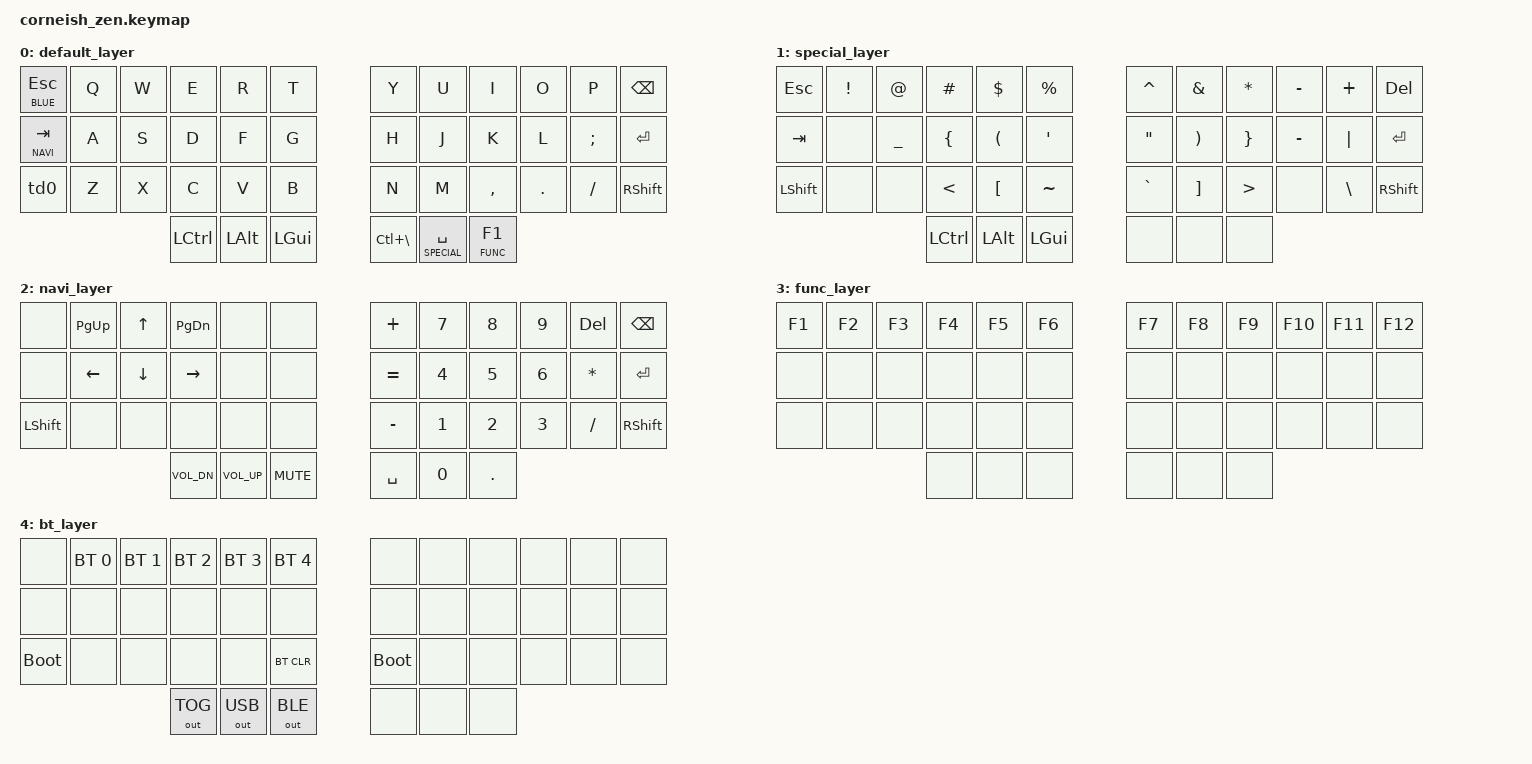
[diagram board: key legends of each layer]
#include <behaviors.dtsi>
#include <dt-bindings/zmk/keys.h>
#include <dt-bindings/zmk/bt.h>
#include <dt-bindings/zmk/outputs.h>

/ {
  chosen {
    zmk,matrix_transform = &default_transform;
    //zmk,matrix_transform = &five_column_transform;
  };
};

// Layers
#define DEFAULT 0  // Typing words and stuff
#define SPECIAL 1  // Typing weird characters
#define NAVI    2  // Arrows, Paging and arabic numbers
#define FUNC    3  // Microsoft loves those
#define BLUE    4  // ZMK BLE controls ("Look ma, no cables!")

// Modifiers + Hotkeys
#define TMUX LC(BSLH)

// Properties
&lt {
        //retro-tap; // FIXME: LGUI+TAB for tab switching works. But LGUI+mouseclick does not work correctly when retro-tap is active.
        quick-tap-ms = <199>;  // https://github.com/zmkfirmware/zmk/issues/1185
};
&mt {
        //retro-tap; // FIXME: LGUI+TAB for tab switching works. But LGUI+mouseclick does not work correctly when retro-tap is active.
        quick-tap-ms = <199>;  // https://github.com/zmkfirmware/zmk/issues/1185
};

// Keymap
/ {

        behaviors {
            // Tap-dance for switching between SHIFT/CAPSLOCK:
            td0: tap_dance_0 {
                compatible = "zmk,behavior-tap-dance";
                label = "TAP_DANCE_0";
                #binding-cells = <0>;
                tapping-term-ms = <300>;
                bindings = <&kp LSHIFT>, <&kp CAPSLOCK>;
            };
        };

        keymap {
                compatible = "zmk,keymap";

                default_layer {
                        bindings = <
   &lt BLUE ESC  &kp Q  &kp W  &kp E  &kp R  &kp T                    &kp Y  &kp U  &kp I      &kp O    &kp P     &kp BSPC
   &lt NAVI TAB  &kp A  &kp S  &kp D  &kp F  &kp G                    &kp H  &kp J  &kp K      &kp L    &kp SEMI  &kp ENTER
   &td0          &kp Z  &kp X  &kp C  &kp V  &kp B                    &kp N  &kp M  &kp COMMA  &kp DOT  &kp FSLH  &kp RSHFT

                               &kp LCTRL  &kp LALT &kp LGUI           &kp TMUX  &lt SPECIAL SPACE  &lt FUNC F1
                        >;
                };
                special_layer {
                        bindings = <
   &kp ESC    &kp EXCL  &kp AT     &kp HASH  &kp DLLR  &kp PRCNT    &kp CARET  &kp AMPS  &kp ASTRK  &kp MINUS  &kp PLUS  &kp DEL
   &kp TAB    &none     &kp UNDER  &kp LBRC  &kp LPAR  &kp SQT      &kp DQT    &kp RPAR  &kp RBRC   &kp MINUS  &kp PIPE  &kp ENTER
   &kp LSHFT  &none     &none      &kp LT    &kp LBKT  &kp TILDE    &kp GRAVE  &kp RBKT  &kp GT     &none      &kp BSLH  &kp RSHFT

                                   &kp LCTRL  &kp LALT &kp LGUI     &none  &none  &none
                        >;
                };
                navi_layer {
                        bindings = <
    &none      &kp PG_UP  &kp UP    &kp PG_DN  &none  &none                 &kp PLUS   &kp N7  &kp N8  &kp N9  &kp DEL    &kp BSPC
    &none      &kp LEFT   &kp DOWN  &kp RIGHT  &none  &none                 &kp EQUAL  &kp N4  &kp N5  &kp N6  &kp ASTRK  &kp ENTER
    &kp LSHFT  &none      &none     &none      &none  &none                 &kp MINUS  &kp N1  &kp N2  &kp N3  &kp FSLH   &kp RSHFT

                                    &kp C_VOL_DN &kp C_VOL_UP &kp K_MUTE    &kp SPACE  &kp N0  &kp DOT
                        >;
                };
                func_layer {
                        bindings = <
   &kp F1  &kp F2  &kp F3  &kp F4  &kp F5  &kp F6    &kp F7  &kp F8  &kp F9  &kp F10  &kp F11  &kp F12
   &none   &none   &none   &none   &none   &none     &none   &none   &none   &none    &none    &none
   &none   &none   &none   &none   &none   &none     &none   &none   &none   &none    &none    &none

                           &none   &none   &none     &none   &none   &none
                        >;
                };
                bt_layer {
                        bindings = <
   &none        &bt BT_SEL 0  &bt BT_SEL 1  &bt BT_SEL 2  &bt BT_SEL 3  &bt BT_SEL 4    &none        &none  &none  &none  &none  &none
   &none        &none         &none         &none         &none         &none           &none        &none  &none  &none  &none  &none
   &bootloader  &none         &none         &none         &none         &bt BT_CLR      &bootloader  &none &none  &none  &none  &none

                              &out OUT_TOG  &out OUT_USB  &out OUT_BLE                  &none  &none  &none
                        >;
                };
        };
};
